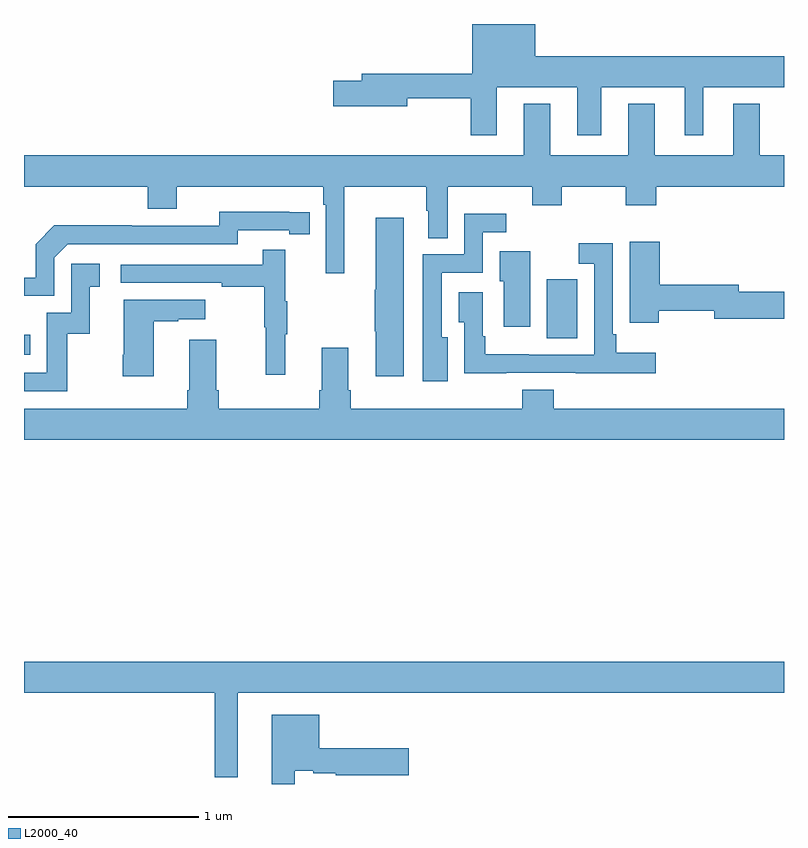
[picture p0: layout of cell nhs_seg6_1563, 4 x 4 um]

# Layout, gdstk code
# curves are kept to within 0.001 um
import gdstk
lib = gdstk.Library(unit=1e-6, precision=1e-09)
def R(c, l, rs):  # rectangles x0, y0, x1, y1
    for r in rs: c.add(gdstk.rectangle(r[:2], r[2:], *l))
def P(c, l, *ps):  # polygons
    for p in ps: c.add(gdstk.Polygon(p, *l))
L2000_40 = (2000, 40)

nhs_seg6_1563 = lib.new_cell('nhs_seg6_1563')
R(nhs_seg6_1563, L2000_40, [(205,971.76,205.034,971.865), (207.752,971.845,207.913,972.156)])
P(nhs_seg6_1563, L2000_40, [(207.487,973.166),(207.911,973.166),(207.911,972.915),(208.039,972.915),(208.039,973.166),(208.478,973.166),(208.478,972.915),(208.576,972.915),(208.576,973.166),(209,973.166),(209,973.33),(207.691,973.33),(207.691,973.5),(207.359,973.5),(207.359,973.238),(206.777,973.238),(206.777,973.202),(206.628,973.202),(206.628,973.067),(207.016,973.067),(207.016,973.11),(207.352,973.11),(207.352,972.915),(207.487,972.915)],
  [(207.831,972.644),(208.168,972.644),(208.168,972.545),(208.328,972.545),(208.328,972.644),(209,972.644),(209,972.808),(208.873,972.808),(208.873,973.081),(208.733,973.081),(208.733,972.808),(208.321,972.808),(208.321,973.081),(208.181,973.081),(208.181,972.808),(207.769,972.808),(207.769,973.081),(207.629,973.081),(207.629,972.808),(205,972.808),(205,972.644),(205.652,972.644),(205.652,972.527),(205.804,972.527),(205.804,972.644),(206.576,972.644),(206.576,972.548),(206.589,972.548),(206.589,972.189),(206.686,972.189),(206.686,972.644),(207.118,972.644),(207.118,972.516),(207.128,972.516),(207.128,972.373),(207.229,972.373),(207.229,972.644),(207.676,972.644),(207.676,972.545),(207.831,972.545)],
  [(205.158,972.27),(205.23,972.342),(206.124,972.342),(206.124,972.414),(206.396,972.414),(206.396,972.394),(206.504,972.394),(206.504,972.51),(206.028,972.511),(206.028,972.438),(205.568,972.438),(205.568,972.44),(205.16,972.44),(205.062,972.342),(205.062,972.165),(205,972.165),(205,972.069),(205.158,972.069)],
  [(207.229,971.851),(207.199,971.851),(207.199,972.192),(207.414,972.192),(207.414,972.405),(207.538,972.405),(207.538,972.502),(207.318,972.502),(207.318,972.288),(207.098,972.288),(207.098,971.619),(207.229,971.619)],
  [(206.998,972.481),(206.852,972.481),(206.852,972.101),(206.845,972.101),(206.845,971.884),(206.852,971.884),(206.852,971.646),(206.998,971.646)],
  [(208.341,971.992),(208.634,971.992),(208.634,971.95),(209,971.95),(209,972.092),(208.762,972.092),(208.762,972.128),(208.346,972.128),(208.346,972.355),(208.187,972.355),(208.187,971.928),(208.341,971.928)],
  [(207.539,971.664),(207.905,971.664),(207.905,971.663),(208.324,971.663),(208.324,971.77),(208.118,971.77),(208.118,971.866),(208.098,971.866),(208.098,972.346),(207.921,972.346),(207.921,972.237),(208.002,972.237),(208.002,971.76),(207.656,971.76),(207.656,971.761),(207.427,971.761),(207.427,971.857),(207.414,971.857),(207.414,972.088),(207.287,972.088),(207.287,971.929),(207.318,971.929),(207.318,971.663),(207.539,971.663)],
  [(206.375,971.867),(206.386,971.867),(206.386,972.041),(206.375,972.041),(206.375,972.313),(206.257,972.313),(206.257,972.234),(205.509,972.234),(205.509,972.138),(206.041,972.138),(206.041,972.118),(206.265,972.118),(206.265,971.904),(206.272,971.904),(206.272,971.655),(206.375,971.655)],
  [(207.664,972.304),(207.503,972.304),(207.503,972.147),(207.524,972.147),(207.524,971.907),(207.664,971.907)],
  [(205.228,971.871),(205.346,971.871),(205.346,972.117),(205.399,972.117),(205.399,972.238),(205.248,972.238),(205.248,971.979),(205.119,971.979),(205.119,971.664),(205,971.664),(205,971.568),(205.228,971.568)],
  [(205.684,971.935),(205.811,971.935),(205.811,971.945),(205.954,971.945),(205.954,972.049),(205.526,972.049),(205.526,971.758),(205.519,971.758),(205.519,971.646),(205.684,971.646)],
  [(209,971.476),(207.788,971.476),(207.788,971.575),(207.623,971.575),(207.623,971.476),(206.72,971.476),(206.72,971.572),(206.707,971.572),(206.707,971.797),(206.567,971.797),(206.567,971.572),(206.555,971.572),(206.555,971.476),(206.024,971.476),(206.024,971.572),(206.011,971.572),(206.011,971.839),(205.871,971.839),(205.871,971.572),(205.859,971.572),(205.859,971.476),(205,971.476),(205,971.312),(209,971.312)],
  [(206.125,969.98),(209,969.98),(209,970.144),(205,970.144),(205,969.98),(206.004,969.98),(206.004,969.536),(206.125,969.536)],
  [(206.425,969.569),(206.522,969.569),(206.522,969.557),(206.64,969.557),(206.64,969.545),(207.025,969.545),(207.025,969.687),(206.554,969.687),(206.554,969.865),(206.303,969.865),(206.303,969.5),(206.425,969.5)])

lib.write_gds('nhs_seg6_1563.gds')
